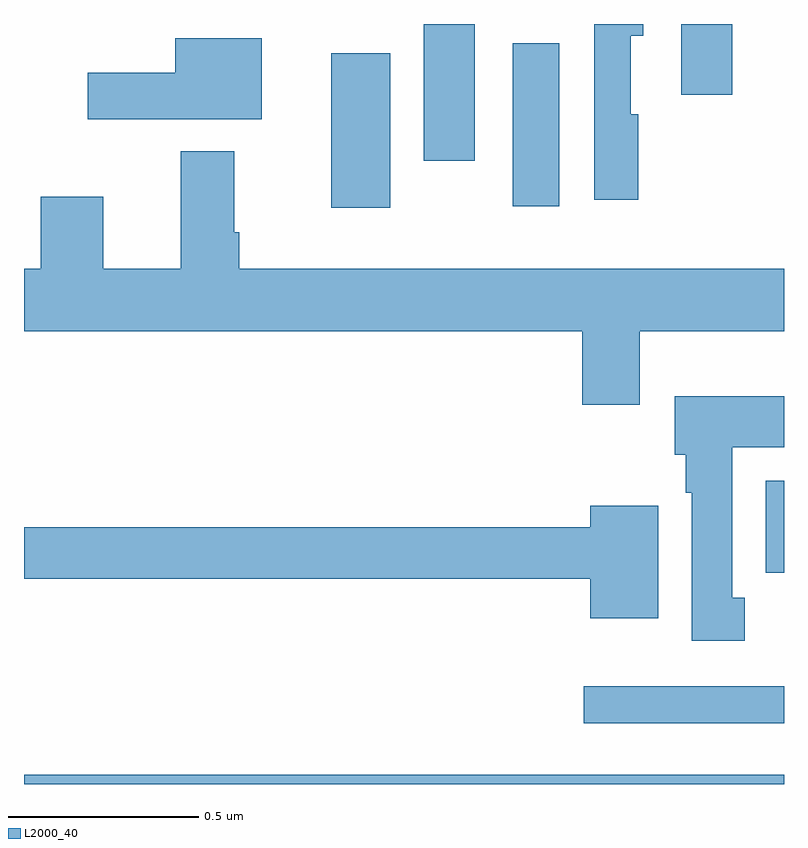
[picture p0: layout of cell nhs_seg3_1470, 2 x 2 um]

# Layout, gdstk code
import gdstk
lib = gdstk.Library(unit=1e-6, precision=1e-09)
def R(c, l, rs):  # rectangles x0, y0, x1, y1
    for r in rs: c.add(gdstk.rectangle(r[:2], r[2:], *l))
def P(c, l, *ps):  # polygons
    for p in ps: c.add(gdstk.Polygon(p, *l))
L2000_40 = (2000, 40)

nhs_seg3_1470 = lib.new_cell('nhs_seg3_1470')
R(nhs_seg3_1470, L2000_40, [(129,690.4,131,690.424), (130.473,690.56,131,690.657), (130.952,690.956,131,691.198), (129.809,691.917,129.964,692.323), (130.286,691.92,130.408,692.35), (130.052,692.04,130.186,692.4), (130.73,692.214,130.864,692.4)])
P(nhs_seg3_1470, L2000_40, [(130.616,692.162),(130.597,692.162),(130.597,692.369),(130.63,692.369),(130.63,692.4),(130.5,692.4),(130.5,691.938),(130.616,691.938)],
  [(129.625,692.362),(129.398,692.362),(129.398,692.272),(129.168,692.272),(129.168,692.15),(129.625,692.15)],
  [(130.621,691.592),(131,691.592),(131,691.756),(129.566,691.756),(129.566,691.852),(129.553,691.852),(129.553,692.065),(129.413,692.065),(129.413,691.756),(129.208,691.756),(129.208,691.945),(129.044,691.945),(129.044,691.756),(129,691.756),(129,691.592),(130.469,691.592),(130.469,691.398),(130.621,691.398)],
  [(130.897,690.89),(130.864,690.89),(130.864,691.286),(131,691.286),(131,691.42),(130.712,691.42),(130.712,691.266),(130.742,691.266),(130.742,691.166),(130.757,691.166),(130.757,690.777),(130.897,690.777)],
  [(130.669,691.132),(130.49,691.132),(130.49,691.076),(129,691.076),(129,690.94),(130.49,690.94),(130.49,690.836),(130.669,690.836)])

lib.write_gds('nhs_seg3_1470.gds')
